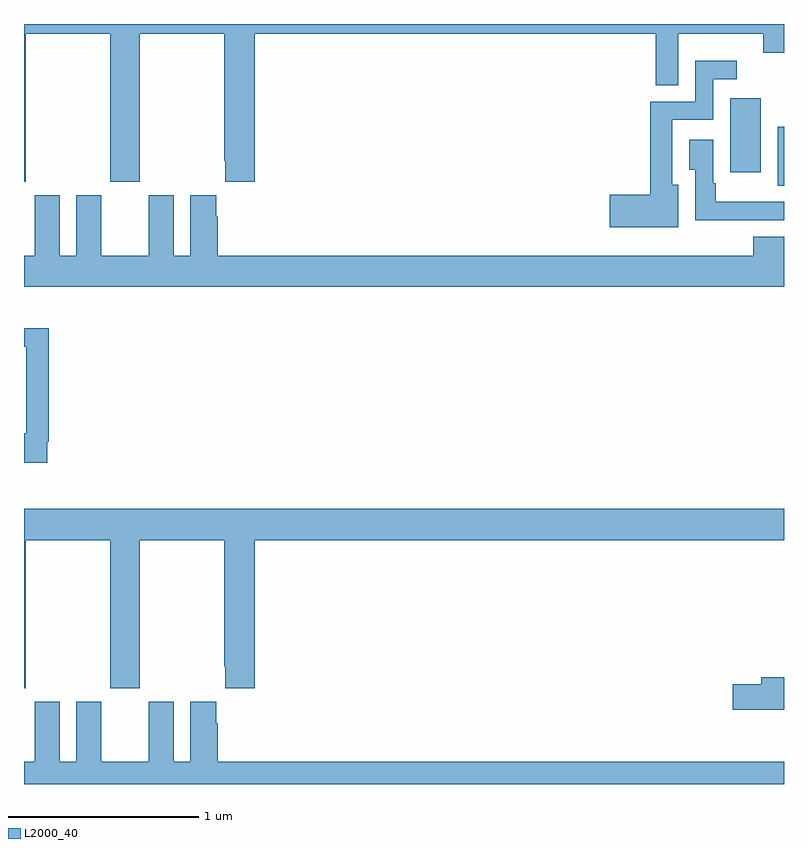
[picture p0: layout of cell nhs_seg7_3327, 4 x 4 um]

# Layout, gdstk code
import gdstk
lib = gdstk.Library(unit=1e-6, precision=1e-09)
def R(c, l, rs):  # rectangles x0, y0, x1, y1
    for r in rs: c.add(gdstk.rectangle(r[:2], r[2:], *l))
def P(c, l, *ps):  # polygons
    for p in ps: c.add(gdstk.Polygon(p, *l))
L2000_40 = (2000, 40)

nhs_seg7_3327 = lib.new_cell('nhs_seg7_3327')
R(nhs_seg7_3327, L2000_40, [(326.966,1001.149,327,1001.46), (326.717,1001.219,326.878,1001.608)])
P(nhs_seg7_3327, L2000_40, [(323.01,1001.948),(323.455,1001.948),(323.455,1001.169),(323.61,1001.169),(323.61,1001.948),(324.055,1001.948),(324.055,1001.281),(324.059,1001.281),(324.059,1001.169),(324.215,1001.169),(324.215,1001.948),(326.325,1001.948),(326.325,1001.677),(326.443,1001.677),(326.443,1001.948),(326.89,1001.948),(326.89,1001.849),(327,1001.849),(327,1002),(323,1002),(323,1001.169),(323.01,1001.169)],
  [(326.443,1001.155),(326.413,1001.155),(326.413,1001.496),(326.628,1001.496),(326.628,1001.709),(326.752,1001.709),(326.752,1001.806),(326.532,1001.806),(326.532,1001.592),(326.295,1001.592),(326.295,1001.102),(326.082,1001.102),(326.082,1000.931),(326.443,1000.931)],
  [(326.753,1000.968),(327,1000.968),(327,1001.064),(326.87,1001.064),(326.87,1001.065),(326.641,1001.065),(326.641,1001.161),(326.628,1001.161),(326.628,1001.392),(326.501,1001.392),(326.501,1001.233),(326.532,1001.233),(326.532,1000.967),(326.753,1000.967)],
  [(327,1000.879),(326.837,1000.879),(326.837,1000.78),(324.02,1000.78),(324.02,1000.985),(324.013,1000.985),(324.013,1001.098),(323.876,1001.098),(323.876,1000.78),(323.788,1000.78),(323.788,1001.098),(323.657,1001.098),(323.657,1000.78),(323.407,1000.78),(323.407,1001.098),(323.276,1001.098),(323.276,1000.78),(323.188,1000.78),(323.188,1001.098),(323.057,1001.098),(323.057,1000.78),(323,1000.78),(323,1000.616),(327,1000.616)],
  [(323.122,999.802),(323.129,999.802),(323.129,1000.4),(323,1000.4),(323,1000.302),(323.013,1000.302),(323.013,999.846),(323,999.846),(323,999.69),(323.122,999.69)],
  [(323.01,999.284),(323.455,999.284),(323.455,998.505),(323.61,998.505),(323.61,999.284),(324.055,999.284),(324.055,998.617),(324.059,998.617),(324.059,998.505),(324.215,998.505),(324.215,999.284),(327,999.284),(327,999.448),(323,999.448),(323,998.505),(323.01,998.505)],
  [(327,998.561),(326.879,998.561),(326.879,998.525),(326.73,998.525),(326.73,998.39),(327,998.39)],
  [(327,998.116),(324.02,998.116),(324.02,998.321),(324.013,998.321),(324.013,998.434),(323.876,998.434),(323.876,998.116),(323.788,998.116),(323.788,998.434),(323.657,998.434),(323.657,998.116),(323.407,998.116),(323.407,998.434),(323.276,998.434),(323.276,998.116),(323.188,998.116),(323.188,998.434),(323.057,998.434),(323.057,998.116),(323,998.116),(323,998),(327,998)])

lib.write_gds('nhs_seg7_3327.gds')
